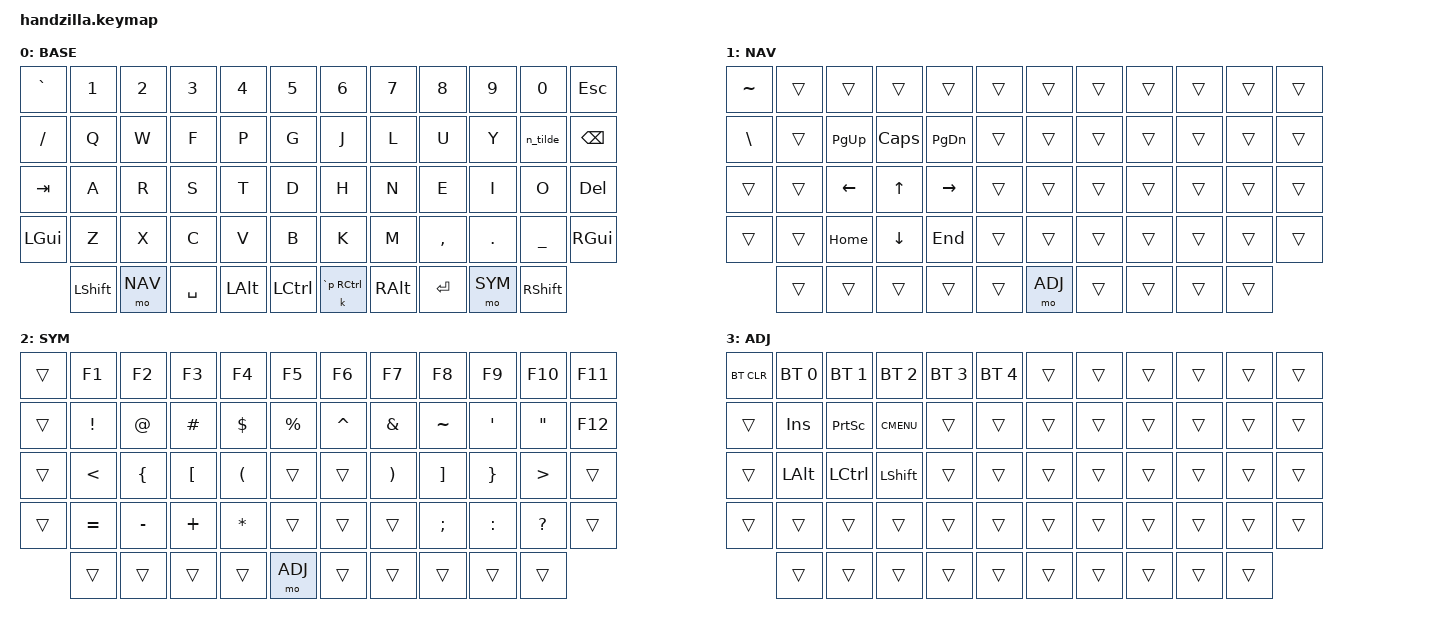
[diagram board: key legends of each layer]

#include <behaviors.dtsi>
#include <dt-bindings/zmk/keys.h>
#include <dt-bindings/zmk/bt.h>

#define BASE 0
#define NAV  1
#define SYM  2
#define ADJ  3

&lt {
    tapping-term-ms = <180>;
    flavor = "balanced";
};

/ {
    macros {
        n_tilde: n_tilde {
            label = "n_tilde";
            compatible = "zmk,behavior-macro";
            #binding-cells = <0>;
            bindings = <&macro_press &kp LALT>,
                       <&macro_tap &kp N>,
                       <&macro_release &kp LALT>,
                       <&macro_tap &kp N>;
        };

        lock_screen: lock_screen {
            label = "lock_screen";
            compatible = "zmk,behavior-macro";
            #binding-cells = <0>;
            bindings = <&macro_press &kp LGUI>,
                       <&macro_press &kp LCTRL>,
                       <&macro_tap &kp Q>,
                       <&macro_release &kp LGUI>,
                       <&macro_release &kp LCTRL>;
        };

        launchpad: launchpad {
            label = "launchpad";
            compatible = "zmk,behavior-macro";
            #binding-cells = <0>;
            bindings = <&macro_press &kp LCTRL>,
                       <&macro_press &kp LALT>,
                       <&macro_press &kp LGUI>,
                       <&macro_tap &kp L>,
                       <&macro_release &kp LGUI>,
                       <&macro_release &kp LALT>,
                       <&macro_release &kp LCTRL>;
        };

        spaces: spaces {
            label = "spaces";
            compatible = "zmk,behavior-macro";
            #binding-cells = <0>;
            bindings = <&macro_press &kp LCTRL>,
                       <&macro_tap &kp UP>,
                       <&macro_release &kp LCTRL>;
        };
    };

    keymap {
        compatible = "zmk,keymap";

        base_layer {
            label = "BASE";
            bindings = <
    &kp GRAVE  &kp N1       &kp N2       &kp N3         &kp N4       &kp N5           &kp N6      &kp N7    &kp N8      &kp N9    &kp N0       &kp ESC
    &kp FSLH   &kp Q        &kp W        &kp F          &kp P        &kp G            &kp J       &kp L     &kp U       &kp Y     &n_tilde     &kp BSPC
    &kp TAB    &kp A        &kp R        &kp S          &kp T        &kp D            &kp H       &kp N     &kp E       &kp I     &kp O        &kp DEL
    &kp LGUI   &kp Z        &kp X        &kp C          &kp V        &kp B            &kp K       &kp M     &kp COMMA   &kp DOT   &kp UNDER    &kp RGUI
               &kp LSHFT    &mo NAV      &kp SPACE      &kp LALT     &kp LCTRL        &k `p RCTRL   &kp RALT  &kp RET     &mo SYM   &kp RSHFT >;
        };

        nav_layer {
            label = "NAV";
            bindings = <
    &kp TILDE  &trans       &trans       &trans         &trans       &trans           &trans      &trans    &trans      &trans    &trans       &trans
    &kp BSLH   &trans       &kp PG_UP    &kp CAPS       &kp PG_DN    &trans           &trans      &trans    &trans      &trans    &trans       &trans
    &trans     &trans       &kp LEFT     &kp UP         &kp RIGHT    &trans           &trans      &trans    &trans      &trans    &trans       &trans
    &trans     &trans       &kp HOME     &kp DOWN       &kp END      &trans           &trans      &trans    &trans      &trans    &trans       &trans
               &trans       &trans       &trans         &trans       &trans           &mo ADJ     &trans    &trans      &trans    &trans >;
        };

        sym_layer {
            label = "SYM";
            bindings = <
    &trans     &kp F1       &kp F2       &kp F3         &kp F4       &kp F5           &kp F6      &kp F7    &kp F8      &kp F9    &kp F10      &kp F11
    &trans     &kp EXCL     &kp AT       &kp HASH       &kp DLLR     &kp PRCNT        &kp CARET   &kp AMPS  &kp TILDE   &kp SQT   &kp DQT      &kp F12
    &trans     &kp LT       &kp LBRC     &kp LBKT       &kp LPAR     &trans           &trans      &kp RPAR  &kp RBKT    &kp RBRC  &kp GT       &trans
    &trans     &kp EQUAL    &kp MINUS    &kp PLUS       &kp ASTERISK &trans           &trans      &trans    &kp SEMI    &kp COLON &kp QUESTION &trans
               &trans       &trans       &trans         &trans       &mo ADJ          &trans      &trans    &trans      &trans    &trans >;
        };

        adj_layer {
            label = "ADJ";
            bindings = <
    &bt BT_CLR &bt BT_SEL 0 &bt BT_SEL 1 &bt BT_SEL 2   &bt BT_SEL 3 &bt BT_SEL 4      &trans      &trans    &trans      &trans    &trans       &trans
    &trans     &kp INS      &kp PSCRN    &kp K_CMENU    &trans       &trans            &trans      &trans    &trans      &trans    &trans       &trans
    &trans     &kp LALT     &kp LCTRL    &kp LSHFT      &trans       &trans            &trans      &trans    &trans      &trans    &trans       &trans
    &trans     &trans       &trans       &trans         &trans       &trans            &trans      &trans    &trans      &trans    &trans       &trans
               &trans       &trans       &trans         &trans       &trans            &trans      &trans    &trans      &trans    &trans >;
        };
    };
};
